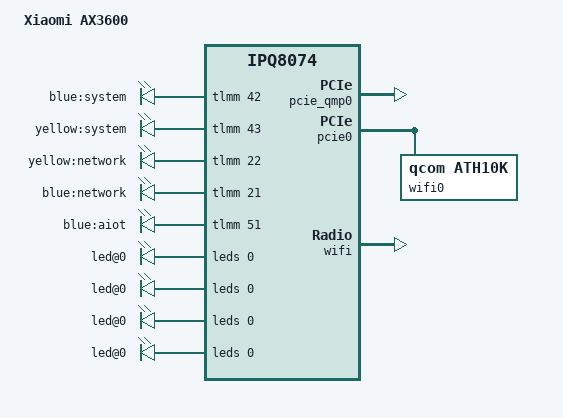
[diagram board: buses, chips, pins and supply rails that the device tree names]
// SPDX-License-Identifier: GPL-2.0-or-later OR MIT
/* Copyright (c) 2021, Robert Marko <robimarko@gmail.com> */

/dts-v1/;

#include "ipq8071-ax3600.dtsi"
#include <dt-bindings/leds/common.h>

/ {
	model = "Xiaomi AX3600";
	compatible = "xiaomi,ax3600", "qcom,ipq8074";

	leds {
		compatible = "gpio-leds";

		led_system_blue: system-blue {
			label = "blue:system";
			gpios = <&tlmm 42 GPIO_ACTIVE_HIGH>;
		};

		led_system_yellow: system-yellow {
			label = "yellow:system";
			gpios = <&tlmm 43 GPIO_ACTIVE_HIGH>;
		};

		network-yellow {
			label = "yellow:network";
			gpios = <&tlmm 22 GPIO_ACTIVE_HIGH>;
		};

		network-blue {
			label = "blue:network";
			gpios = <&tlmm 21 GPIO_ACTIVE_HIGH>;
		};

		aiot {
			label = "blue:aiot";
			gpios = <&tlmm 51 GPIO_ACTIVE_HIGH>;
			linux,default-trigger = "phy0tpt";
		};
	};
};

&pcie_qmp0 {
	status = "okay";
};

&pcie0 {
	status = "okay";

	perst-gpio = <&tlmm 52 GPIO_ACTIVE_HIGH>;

	bridge@0,0 {
		reg = <0x00000000 0 0 0 0>;
		#address-cells = <3>;
		#size-cells = <2>;
		ranges;

		wifi0: wifi@1,0 {
			status = "okay";

			compatible = "qcom,ath10k";
			reg = <0x00010000 0 0 0 0>;

			qcom,ath10k-calibration-variant = "Xiaomi-AX3600";
			nvmem-cell-names = "calibration";
			nvmem-cells = <&caldata_qca9889>;
		};
	};
};

&wifi {
	qcom,ath11k-calibration-variant = "Xiaomi-AX3600";
};

&qca8075_1 {
	leds {
		#address-cells = <1>;
		#size-cells = <0>;

		led@0 {
			reg = <0>;
			color = <LED_COLOR_ID_GREEN>;
			function = LED_FUNCTION_WAN;
			default-state = "keep";
		};
	};
};

&qca8075_2 {
	leds {
		#address-cells = <1>;
		#size-cells = <0>;

		led@0 {
			reg = <0>;
			color = <LED_COLOR_ID_GREEN>;
			function = LED_FUNCTION_LAN;
			default-state = "keep";
		};
	};
};

&qca8075_3 {
	leds {
		#address-cells = <1>;
		#size-cells = <0>;

		led@0 {
			reg = <0>;
			color = <LED_COLOR_ID_GREEN>;
			function = LED_FUNCTION_LAN;
			default-state = "keep";
		};
	};
};

&qca8075_4 {
	leds {
		#address-cells = <1>;
		#size-cells = <0>;

		led@0 {
			reg = <0>;
			color = <LED_COLOR_ID_GREEN>;
			function = LED_FUNCTION_LAN;
			default-state = "keep";
		};
	};
};
